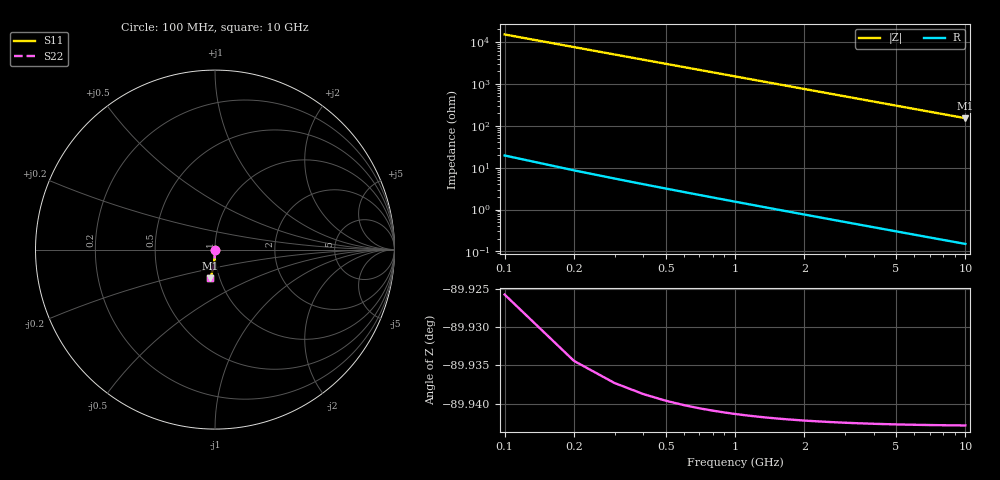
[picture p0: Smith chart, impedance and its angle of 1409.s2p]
# Hz S RI R 50.00
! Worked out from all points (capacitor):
!   100 points, 100 MHz to 10 GHz, reference 50 ohm
!   read as one part in shunt: C = 106 fF near 100 MHz
!   lowest |Z| = 152 ohm at 10 GHz (marker M1)
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1e8  -2.02e-06 -0.00165  1 -0.00166  1 -0.00166  -2.02e-06 -0.00165
2e8  -1.19e-05 -0.0033  1 -0.00333  1 -0.00333  -1.19e-05 -0.0033
3e8  -2.73e-05 -0.00495  1 -0.00499  1 -0.00499  -2.73e-05 -0.00495
4e8  -4.81e-05 -0.0066  0.9999 -0.00665  0.9999 -0.00665  -4.81e-05 -0.0066
5e8  -7.45e-05 -0.00826  0.9999 -0.00832  0.9999 -0.00832  -7.45e-05 -0.00826
6e8  -0.000106 -0.00991  0.9999 -0.00998  0.9999 -0.00998  -0.000106 -0.00991
7e8  -0.000144 -0.0116  0.9999 -0.0116  0.9999 -0.0116  -0.000144 -0.0116
8e8  -0.000186 -0.0132  0.9998 -0.0133  0.9998 -0.0133  -0.000186 -0.0132
9e8  -0.000235 -0.0149  0.9998 -0.015  0.9998 -0.015  -0.000235 -0.0149
1.1e9  -0.000348 -0.0182  0.9996 -0.0183  0.9996 -0.0183  -0.000348 -0.0182
1.4e9  -0.000558 -0.0231  0.9994 -0.0233  0.9994 -0.0233  -0.000558 -0.0231
1.8e9  -0.000915 -0.0297  0.9991 -0.0299  0.9991 -0.0299  -0.000915 -0.0297
2.1e9  -0.00124 -0.0346  0.9988 -0.0349  0.9988 -0.0349  -0.00124 -0.0346
2.5e9  -0.00175 -0.0412  0.9982 -0.0415  0.9982 -0.0415  -0.00175 -0.0412
2.9e9  -0.00234 -0.0477  0.9976 -0.0481  0.9976 -0.0481  -0.00234 -0.0477
3.4e9  -0.00321 -0.0559  0.9968 -0.0563  0.9968 -0.0563  -0.00321 -0.0559
4.2e9  -0.00487 -0.0689  0.9951 -0.0694  0.9951 -0.0694  -0.00487 -0.0689
5.1e9  -0.00714 -0.0834  0.9929 -0.084  0.9929 -0.084  -0.00714 -0.0834
5.9e9  -0.00951 -0.0962  0.9905 -0.0969  0.9905 -0.0969  -0.00951 -0.0962
6.7e9  -0.0122 -0.1089  0.9878 -0.1097  0.9878 -0.1097  -0.0122 -0.1089
8.4e9  -0.019 -0.1354  0.981 -0.1364  0.981 -0.1364  -0.019 -0.1354
1e10  -0.0266 -0.1597  0.9734 -0.161  0.9734 -0.161  -0.0266 -0.1597
